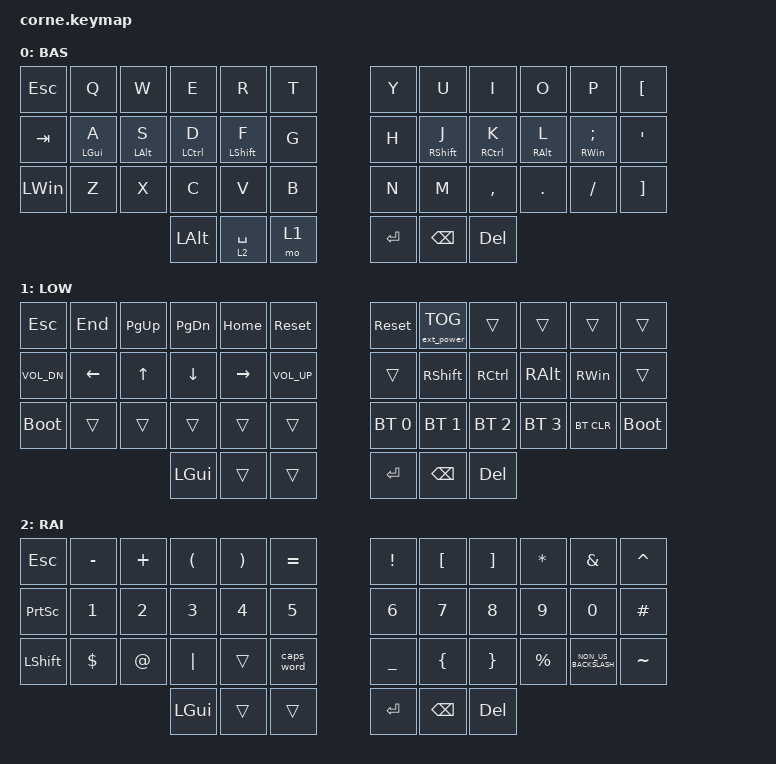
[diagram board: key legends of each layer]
/*
 * Copyright (c) 2020 The ZMK Contributors
 *
 * SPDX-License-Identifier: MIT
 */

#include <dt-bindings/led/led.h>
#include <dt-bindings/zmk/reset.h>
#include <behaviors.dtsi>
#include <dt-bindings/zmk/bt.h>
#include <dt-bindings/zmk/ext_power.h>
#include <dt-bindings/zmk/keys.h>

&led_strip { chain-length = <27>; };

/ {
    behaviors {
        left_ctrl_shift: left_ctrl_shift {
            compatible = "zmk,behavior-hold-tap";
            label = "LEFT_CTRL_SHIFT";
            bindings = <&kp>, <&kp>;

            #binding-cells = <2>;
            tapping-term-ms = <130>;
            quick-tap-ms = <75>;
            flavor = "balanced";
            hold-trigger-key-positions = <16 14>;
            require-prior-idle-ms = <50>;
            hold-trigger-on-release;
        };

        left_win_alt: left_win_alt {
            compatible = "zmk,behavior-hold-tap";
            label = "LEFT_WIN_ALT";
            bindings = <&kp>, <&kp>;

            #binding-cells = <2>;
            tapping-term-ms = <175>;
            quick-tap-ms = <100>;
            flavor = "balanced";
            require-prior-idle-ms = <75>;
            hold-trigger-on-release;
            hold-trigger-key-positions = <15 13>;
        };

        right_ctrl_shift: right_ctrl_shift {
            compatible = "zmk,behavior-hold-tap";
            label = "RIGHT_CTRL_SHIFT";
            bindings = <&kp>, <&kp>;

            #binding-cells = <2>;
            tapping-term-ms = <150>;
            quick-tap-ms = <100>;
            flavor = "balanced";
            require-prior-idle-ms = <75>;
            hold-trigger-on-release;
            hold-trigger-key-positions = <19 21>;
        };

        right_win_alt: right_win_alt {
            compatible = "zmk,behavior-hold-tap";
            label = "RIGHT_WIN_ALT";
            bindings = <&kp>, <&kp>;

            #binding-cells = <2>;
            tapping-term-ms = <225>;
            quick-tap-ms = <125>;
            flavor = "balanced";
            require-prior-idle-ms = <90>;
            hold-trigger-on-release;
            hold-trigger-key-positions = <20 22>;
        };
    };

    keymap {
        compatible = "zmk,keymap";

        default_layer {
            display-name = "BAS";

            // -----------------------------------------------------------------------------------------
            // |  TAB |  Q  |  W  |  E  |  R  |  T  |   |  Y  |  U   |  I  |  O  |  P  | BKSP |
            // | CTRL |  A  |  S  |  D  |  F  |  G  |   |  H  |  J   |  K  |  L  |  ;  |  '   |
            // | SHFT |  Z  |  X  |  C  |  V  |  B  |   |  N  |  M   |  ,  |  .  |  /  | ESC  |
            //                    | GUI | LWR | SPC |   | ENT | RSE  | ALT |

            bindings = <
&kp ESCAPE    &kp Q                        &kp W                     &kp E                     &kp R                          &kp T    &kp Y    &kp U                            &kp I                      &kp O                       &kp P                               &kp LEFT_BRACKET
&kp TAB       &left_ctrl_shift LEFT_GUI A  &left_win_alt LEFT_ALT S  &left_ctrl_shift LCTRL D  &left_ctrl_shift LEFT_SHIFT F  &kp G    &kp H    &right_ctrl_shift RIGHT_SHIFT J  &right_ctrl_shift RCTRL K  &right_win_alt RIGHT_ALT L  &right_win_alt RIGHT_WIN SEMICOLON  &kp SQT
&kp LEFT_WIN  &kp Z                        &kp X                     &kp C                     &kp V                          &kp B    &kp N    &kp M                            &kp COMMA                  &kp DOT                     &kp FSLH                            &kp RIGHT_BRACKET
                                                                     &kp LEFT_ALT              &lt 2 SPACE                    &mo 1    &kp RET  &kp BACKSPACE                    &kp DEL
            >;
        };

        nav {
            display-name = "LOW";

            // -----------------------------------------------------------------------------------------
            // |  TAB |  1  |  2  |  3  |  4  |  5  |   |  6  |  7  |  8  |  9  |  0  | BKSP |
            // | BTCLR| BT1 | BT2 | BT3 | BT4 | BT5 |   | LFT | DWN |  UP | RGT |     |      |
            // | SHFT |     |     |     |     |     |   |     |     |     |     |     |      |
            //                    | GUI |     | SPC |   | ENT |     | ALT |

            bindings = <
&kp ESCAPE    &kp END         &kp PAGE_UP   &kp PAGE_DOWN   &kp HOME         &sys_reset         &sys_reset    &ext_power EP_TOG  &trans             &trans         &trans         &trans
&kp C_VOL_DN  &kp LEFT_ARROW  &kp UP_ARROW  &kp DOWN_ARROW  &kp RIGHT_ARROW  &kp C_VOLUME_UP    &trans        &kp RIGHT_SHIFT    &kp RIGHT_CONTROL  &kp RIGHT_ALT  &kp RIGHT_WIN  &trans
&bootloader   &trans          &trans        &trans          &trans           &trans             &bt BT_SEL 0  &bt BT_SEL 1       &bt BT_SEL 2       &bt BT_SEL 3   &bt BT_CLR     &bootloader
                                            &kp LGUI        &trans           &trans             &kp RET       &kp BACKSPACE      &kp DEL
            >;
        };

        num {
            display-name = "RAI";

            // -----------------------------------------------------------------------------------------
            // |  TAB |  !  |  @  |  #  |  $  |  %  |   |  ^  |  &  |  *  |  (  |  )  | BKSP |
            // | CTRL |     |     |     |     |     |   |  -  |  =  |  [  |  ]  |  \  |  `   |
            // | SHFT |     |     |     |     |     |   |  _  |  +  |  {  |  }  | "|" |  ~   |
            //                    | GUI |     | SPC |   | ENT |     | ALT |

            bindings = <
&kp ESC          &kp MINUS   &kp PLUS     &kp LEFT_PARENTHESIS  &kp RIGHT_PARENTHESIS  &kp EQUAL     &kp EXCLAMATION  &kp LEFT_BRACKET  &kp RIGHT_BRACKET  &kp ASTERISK  &kp AMPERSAND         &kp CARET
&kp PRINTSCREEN  &kp N1      &kp N2       &kp N3                &kp N4                 &kp N5        &kp N6           &kp N7            &kp N8             &kp N9        &kp N0                &kp HASH
&kp LSHFT        &kp DOLLAR  &kp AT_SIGN  &kp PIPE              &trans                 &caps_word    &kp UNDER        &kp LEFT_BRACE    &kp RIGHT_BRACE    &kp PERCENT   &kp NON_US_BACKSLASH  &kp TILDE
                                          &kp LGUI              &trans                 &trans        &kp RET          &kp BACKSPACE     &kp DEL
            >;
        };

        extra_1 { status = "reserved"; };

        extra_2 { status = "reserved"; };

        extra_3 { status = "reserved"; };
    };
};
